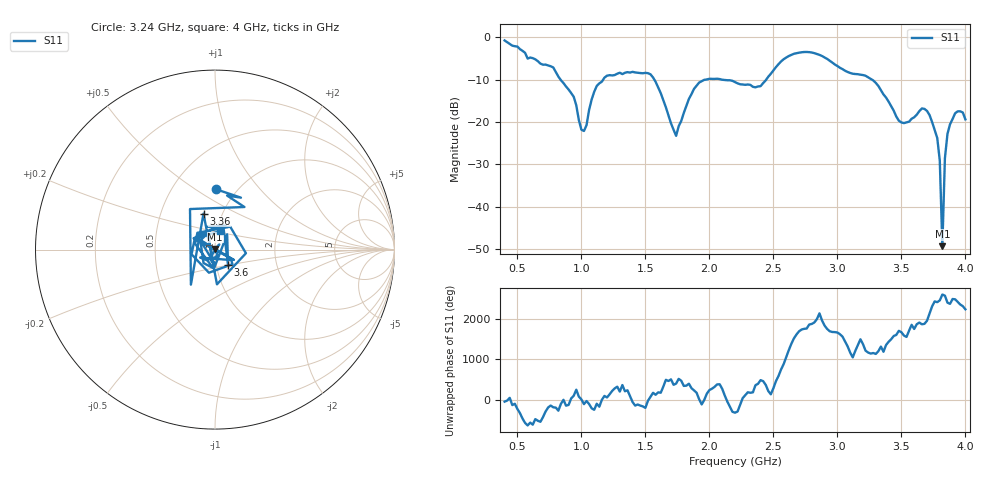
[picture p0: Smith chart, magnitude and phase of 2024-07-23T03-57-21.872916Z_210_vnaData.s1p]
!Created with skrf (http://scikit-rf.org).
# Hz S RI R 50.0
!freq ReS11 ImS11
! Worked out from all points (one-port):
!   181 points, 400 MHz to 4 GHz, reference 50 ohm
!   lowest |S11| = -49.3 dB at 3.82 GHz (marker M1), VSWR 1.01, Z = 50.1 + j0.334 ohm
!   |S11| at or under -10 dB: 1.569 GHz to 1.976 GHz (407.2 MHz wide, 23 % of centre); 2.093 GHz to 2.445 GHz (351.2 MHz wide, 15.5 % of centre); 3.27 GHz to end of sweep (the widest 3 of 4)
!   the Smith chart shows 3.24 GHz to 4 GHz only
!   S11 on the Smith chart (normalised r, x): 3.24 GHz: 0.81, +0.61; 3.36 GHz: 0.81, +0.34; 3.6 GHz: 1.14, -0.20; 4 GHz: 1.04, +0.22
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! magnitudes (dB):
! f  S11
! 400 MHz  -0.8
! 780 MHz  -7.1
! 860 MHz  -10.8
! 940 MHz  -14.1
! 1.02 GHz  -22.1
! 1.12 GHz  -11.5
! 1.3 GHz  -8.4
! 1.54 GHz  -8.8
! 1.74 GHz  -23.3
! 1.76 GHz  -21.0
! 1.92 GHz  -10.7
! 2.2 GHz  -10.6
! 2.4 GHz  -11.6
! 2.66 GHz  -3.9
! 3.1 GHz  -8.5
! 3.24 GHz  -9.5
! 3.36 GHz  -13.5
! 3.48 GHz  -19.7
! 3.56 GHz  -20.0
! 3.6 GHz  -18.9
! 3.7 GHz  -17.4
! 3.78 GHz  -23.8
! 3.8 GHz  -29.2
! 3.82 GHz  -49.3
! 3.84 GHz  -28.6
! 3.86 GHz  -22.8
! 3.92 GHz  -18.0
! 4 GHz  -19.4
